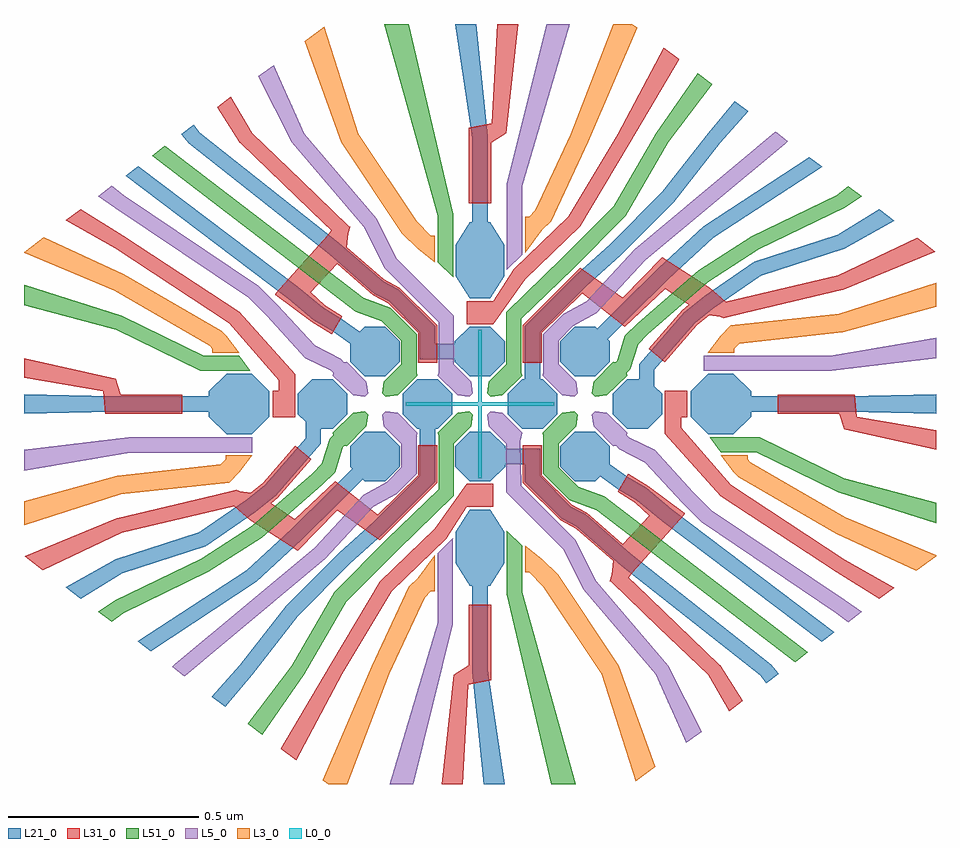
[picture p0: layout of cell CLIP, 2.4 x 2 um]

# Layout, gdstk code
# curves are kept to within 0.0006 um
import gdstk
lib = gdstk.Library(unit=1e-6, precision=1e-09)
def P(c, l, *ps):  # polygons
    for p in ps: c.add(gdstk.Polygon(p, *l))
L0_0 = (0, 0)
L3_0 = (3, 0)
L5_0 = (5, 0)
L21_0 = (21, 0)
L31_0 = (31, 0)
L51_0 = (51, 0)

top_1 = lib.new_cell('TOP$1')

clip = lib.new_cell('CLIP')
P(clip, L0_0, [(-0.005,-0.195),(-0.005,-0.005),(-0.195,-0.005),(-0.195,0.005),(-0.005,0.005),(-0.005,0.195),(0.005,0.195),(0.005,0.005),(0.195,0.005),(0.195,-0.005),(0.005,-0.005),(0.005,-0.195)],
  [(-0.005,-0.049),(-0.005,-0.005),(-0.049,-0.005),(-0.049,0.005),(-0.005,0.005),(-0.005,0.049),(0.005,0.049),(0.005,0.005),(0.049,0.005),(0.049,-0.005),(0.005,-0.005),(0.005,-0.049)])
P(clip, L3_0, [(-0.4,-1),(-0.414,-0.99),(-0.285,-0.69),(-0.187,-0.481),(-0.164,-0.458),(-0.119,-0.398),(-0.119,-0.493),(-0.129,-0.493),(-0.146,-0.51),(-0.239,-0.71),(-0.35,-1)],
  [(0.41,-0.993),(0.32,-0.711),(0.167,-0.481),(0.129,-0.443),(0.119,-0.443),(0.119,-0.373),(0.164,-0.408),(0.206,-0.449),(0.365,-0.689),(0.461,-0.954)],
  [(-1.2,-0.319),(-1.2,-0.256),(-0.955,-0.189),(-0.682,-0.159),(-0.669,-0.145),(-0.669,-0.135),(-0.599,-0.135),(-0.633,-0.18),(-0.66,-0.207),(-0.945,-0.238)],
  [(1.148,-0.439),(0.938,-0.342),(0.681,-0.193),(0.668,-0.18),(0.634,-0.135),(0.704,-0.135),(0.704,-0.145),(0.711,-0.153),(0.961,-0.298),(1.2,-0.398),(1.2,-0.4)],
  [(0.599,0.135),(0.633,0.18),(0.66,0.207),(0.945,0.238),(1.2,0.319),(1.2,0.256),(0.955,0.189),(0.682,0.159),(0.669,0.145),(0.669,0.135)],
  [(-0.704,0.135),(-0.704,0.145),(-0.711,0.153),(-0.961,0.298),(-1.2,0.398),(-1.2,0.4),(-1.148,0.439),(-0.938,0.342),(-0.681,0.193),(-0.668,0.18),(-0.634,0.135)],
  [(-0.119,0.373),(-0.164,0.408),(-0.206,0.449),(-0.365,0.689),(-0.461,0.954),(-0.41,0.993),(-0.32,0.711),(-0.167,0.481),(-0.129,0.443),(-0.119,0.443)],
  [(0.119,0.398),(0.119,0.493),(0.129,0.493),(0.146,0.51),(0.239,0.71),(0.35,1),(0.4,1),(0.414,0.99),(0.285,0.69),(0.187,0.481),(0.164,0.458)])
P(clip, L5_0, [(-0.237,-1),(-0.111,-0.575),(-0.111,-0.393),(-0.072,-0.353),(-0.072,-0.58),(-0.176,-1)],
  [(-1.2,-0.175),(-1.2,-0.12),(-0.925,-0.088),(-0.599,-0.088),(-0.599,-0.128),(-0.922,-0.128)],
  [(-0.778,-0.717),(-0.81,-0.692),(-0.803,-0.685),(-0.435,-0.378),(-0.306,-0.239),(-0.244,-0.204),(-0.207,-0.167),(-0.207,-0.104),(-0.253,-0.058),(-0.257,-0.028),(-0.248,-0.019),(-0.217,-0.023),(-0.165,-0.075),(-0.167,-0.085),(-0.167,-0.184),(-0.22,-0.237),(-0.281,-0.271),(-0.407,-0.407)],
  [(0.543,-0.892),(0.462,-0.711),(0.272,-0.488),(0.219,-0.382),(0.069,-0.232),(0.069,-0.105),(0.023,-0.058),(0.019,-0.028),(0.028,-0.019),(0.058,-0.023),(0.111,-0.075),(0.106,-0.098),(0.109,-0.215),(0.252,-0.359),(0.306,-0.466),(0.496,-0.689),(0.583,-0.862)],
  [(0.969,-0.574),(0.938,-0.55),(0.584,-0.311),(0.532,-0.26),(0.435,-0.154),(0.367,-0.119),(0.358,-0.11),(0.351,-0.111),(0.299,-0.058),(0.294,-0.028),(0.303,-0.019),(0.334,-0.023),(0.387,-0.075),(0.386,-0.082),(0.391,-0.087),(0.46,-0.121),(0.561,-0.232),(0.609,-0.28),(0.961,-0.517),(1.004,-0.547)],
  [(0.589,0.088),(0.589,0.127),(0.922,0.127),(1.2,0.174),(1.2,0.12),(0.925,0.088)],
  [(-0.303,0.019),(-0.334,0.023),(-0.387,0.075),(-0.386,0.082),(-0.391,0.087),(-0.46,0.121),(-0.561,0.232),(-0.609,0.28),(-0.961,0.517),(-1.004,0.547),(-0.969,0.574),(-0.938,0.55),(-0.584,0.311),(-0.532,0.26),(-0.435,0.154),(-0.367,0.119),(-0.358,0.11),(-0.351,0.111),(-0.299,0.058),(-0.294,0.028)],
  [(0.248,0.019),(0.217,0.023),(0.165,0.075),(0.167,0.085),(0.167,0.184),(0.22,0.237),(0.281,0.271),(0.407,0.407),(0.778,0.717),(0.81,0.692),(0.803,0.685),(0.435,0.378),(0.306,0.239),(0.244,0.204),(0.207,0.167),(0.207,0.104),(0.253,0.058),(0.257,0.028)],
  [(-0.028,0.019),(-0.058,0.023),(-0.111,0.075),(-0.109,0.082),(-0.109,0.215),(-0.252,0.359),(-0.306,0.466),(-0.496,0.689),(-0.583,0.862),(-0.543,0.892),(-0.462,0.711),(-0.272,0.488),(-0.219,0.382),(-0.069,0.232),(-0.069,0.105),(-0.023,0.058),(-0.019,0.028)],
  [(0.071,0.353),(0.071,0.58),(0.175,1),(0.236,1),(0.111,0.575),(0.111,0.393)])
P(clip, L21_0, [(0.01,-1),(-0.02,-0.704),(-0.02,-0.478),(-0.027,-0.478),(-0.064,-0.419),(-0.064,-0.336),(-0.027,-0.278),(0.027,-0.278),(0.064,-0.336),(0.064,-0.419),(0.027,-0.478),(0.02,-0.478),(0.02,-0.701),(0.065,-1)],
  [(-0.867,-0.65),(-0.901,-0.624),(-0.614,-0.437),(-0.497,-0.33),(-0.336,-0.17),(-0.341,-0.165),(-0.341,-0.111),(-0.303,-0.073),(-0.249,-0.073),(-0.211,-0.111),(-0.211,-0.165),(-0.249,-0.203),(-0.303,-0.203),(-0.308,-0.198),(-0.47,-0.359),(-0.589,-0.468)],
  [(0.753,-0.735),(0.738,-0.714),(0.372,-0.425),(0.255,-0.323),(0.215,-0.302),(0.118,-0.205),(0.118,-0.158),(0.066,-0.158),(0.066,-0.165),(0.027,-0.203),(-0.027,-0.203),(-0.065,-0.165),(-0.065,-0.111),(-0.027,-0.073),(0.027,-0.073),(0.066,-0.111),(0.066,-0.118),(0.158,-0.118),(0.158,-0.189),(0.239,-0.27),(0.278,-0.29),(0.397,-0.394),(0.767,-0.686),(0.786,-0.71)],
  [(0.899,-0.626),(0.48,-0.308),(0.414,-0.254),(0.365,-0.225),(0.316,-0.19),(0.303,-0.203),(0.249,-0.203),(0.211,-0.165),(0.211,-0.111),(0.249,-0.073),(0.303,-0.073),(0.341,-0.111),(0.341,-0.159),(0.387,-0.191),(0.437,-0.221),(0.505,-0.277),(0.932,-0.601)],
  [(-1.051,-0.512),(-1.09,-0.482),(-0.958,-0.408),(-0.739,-0.338),(-0.613,-0.251),(-0.565,-0.212),(-0.459,-0.09),(-0.459,-0.047),(-0.479,-0.027),(-0.479,0.027),(-0.441,0.065),(-0.387,0.065),(-0.349,0.027),(-0.349,-0.027),(-0.387,-0.065),(-0.419,-0.065),(-0.419,-0.105),(-0.538,-0.241),(-0.59,-0.283),(-0.722,-0.374),(-0.942,-0.445)],
  [(-0.671,-0.797),(-0.706,-0.77),(-0.632,-0.687),(-0.51,-0.531),(-0.371,-0.392),(-0.281,-0.311),(-0.158,-0.189),(-0.158,-0.065),(-0.165,-0.065),(-0.203,-0.027),(-0.203,0.027),(-0.165,0.065),(-0.111,0.065),(-0.073,0.027),(-0.073,-0.027),(-0.111,-0.065),(-0.118,-0.065),(-0.118,-0.205),(-0.253,-0.34),(-0.343,-0.421),(-0.48,-0.558),(-0.6,-0.712)],
  [(-0.667,-0.08),(-0.714,-0.033),(-0.714,-0.02),(-0.964,-0.02),(-1.2,-0.026),(-1.2,0.026),(-0.964,0.02),(-0.714,0.02),(-0.714,0.033),(-0.667,0.08),(-0.601,0.08),(-0.554,0.033),(-0.554,-0.033),(-0.601,-0.08)],
  [(0.601,-0.08),(0.554,-0.033),(0.554,0.033),(0.601,0.08),(0.667,0.08),(0.714,0.033),(0.714,0.02),(0.964,0.02),(1.2,0.026),(1.2,-0.026),(0.964,-0.02),(0.714,-0.02),(0.714,-0.033),(0.667,-0.08)],
  [(0.387,-0.065),(0.349,-0.027),(0.349,0.027),(0.387,0.065),(0.419,0.065),(0.419,0.105),(0.538,0.241),(0.59,0.283),(0.722,0.374),(0.942,0.445),(1.051,0.512),(1.09,0.482),(0.958,0.408),(0.739,0.338),(0.613,0.251),(0.565,0.212),(0.459,0.09),(0.459,0.047),(0.479,0.027),(0.479,-0.027),(0.441,-0.065)],
  [(-0.303,0.073),(-0.341,0.111),(-0.341,0.159),(-0.387,0.191),(-0.437,0.221),(-0.505,0.277),(-0.932,0.601),(-0.899,0.626),(-0.48,0.308),(-0.414,0.254),(-0.365,0.225),(-0.316,0.19),(-0.303,0.203),(-0.249,0.203),(-0.211,0.165),(-0.211,0.111),(-0.249,0.073)],
  [(0.249,0.073),(0.211,0.111),(0.211,0.165),(0.249,0.203),(0.303,0.203),(0.308,0.198),(0.47,0.359),(0.589,0.468),(0.867,0.65),(0.901,0.624),(0.614,0.437),(0.497,0.33),(0.336,0.17),(0.341,0.165),(0.341,0.111),(0.303,0.073)],
  [(-0.027,0.073),(-0.066,0.111),(-0.066,0.118),(-0.158,0.118),(-0.158,0.189),(-0.239,0.27),(-0.278,0.29),(-0.397,0.394),(-0.767,0.686),(-0.786,0.71),(-0.753,0.735),(-0.738,0.714),(-0.372,0.425),(-0.255,0.323),(-0.215,0.302),(-0.118,0.205),(-0.118,0.158),(-0.066,0.158),(-0.066,0.165),(-0.027,0.203),(0.027,0.203),(0.065,0.165),(0.065,0.111),(0.027,0.073)],
  [(0.111,-0.065),(0.073,-0.027),(0.073,0.027),(0.111,0.065),(0.118,0.065),(0.118,0.205),(0.253,0.34),(0.343,0.421),(0.48,0.558),(0.6,0.712),(0.671,0.797),(0.706,0.77),(0.632,0.687),(0.51,0.531),(0.371,0.392),(0.281,0.311),(0.158,0.189),(0.158,0.065),(0.165,0.065),(0.203,0.027),(0.203,-0.027),(0.165,-0.065)],
  [(-0.027,0.278),(-0.064,0.336),(-0.064,0.419),(-0.027,0.478),(-0.02,0.478),(-0.02,0.701),(-0.065,1),(-0.01,1),(0.02,0.704),(0.02,0.478),(0.027,0.478),(0.064,0.419),(0.064,0.336),(0.027,0.278)])
P(clip, L31_0, [(-0.101,-1),(-0.069,-0.712),(-0.03,-0.687),(-0.03,-0.528),(0.03,-0.528),(0.03,-0.727),(-0.031,-0.739),(-0.046,-1)],
  [(-0.483,-0.938),(-0.524,-0.907),(-0.396,-0.689),(-0.264,-0.468),(-0.119,-0.328),(-0.035,-0.21),(0.035,-0.21),(0.035,-0.27),(-0.035,-0.27),(-0.089,-0.354),(-0.232,-0.493),(-0.362,-0.71)],
  [(-1.151,-0.437),(-1.198,-0.401),(-0.956,-0.301),(-0.641,-0.226),(-0.632,-0.229),(-0.603,-0.233),(-0.571,-0.207),(-0.486,-0.11),(-0.444,-0.146),(-0.532,-0.247),(-0.549,-0.261),(-0.487,-0.303),(-0.381,-0.203),(-0.269,-0.292),(-0.163,-0.187),(-0.163,-0.108),(-0.113,-0.108),(-0.113,-0.207),(-0.264,-0.358),(-0.376,-0.279),(-0.479,-0.386),(-0.604,-0.306),(-0.647,-0.269),(-0.943,-0.339)],
  [(0.656,-0.808),(0.6,-0.713),(0.345,-0.468),(0.342,-0.466),(0.347,-0.449),(0.351,-0.413),(0.253,-0.328),(0.212,-0.306),(0.113,-0.207),(0.113,-0.108),(0.163,-0.108),(0.163,-0.187),(0.242,-0.265),(0.281,-0.286),(0.376,-0.369),(0.446,-0.294),(0.409,-0.26),(0.362,-0.231),(0.39,-0.184),(0.441,-0.215),(0.539,-0.287),(0.538,-0.291),(0.401,-0.444),(0.391,-0.457),(0.63,-0.686),(0.632,-0.687),(0.692,-0.781)],
  [(1.2,-0.121),(0.958,-0.067),(0.945,-0.025),(0.784,-0.025),(0.784,0.025),(0.986,0.025),(0.992,-0.033),(1.2,-0.069)],
  [(1.051,-0.512),(0.939,-0.443),(0.633,-0.243),(0.486,-0.078),(0.486,0.035),(0.546,0.035),(0.546,-0.035),(0.529,-0.035),(0.529,-0.062),(0.66,-0.213),(0.96,-0.41),(1.09,-0.483)],
  [(-0.986,-0.025),(-0.992,0.033),(-1.2,0.069),(-1.2,0.121),(-0.958,0.067),(-0.945,0.025),(-0.784,0.025),(-0.784,-0.025)],
  [(0.113,0.108),(0.113,0.207),(0.264,0.358),(0.376,0.279),(0.479,0.386),(0.604,0.306),(0.647,0.269),(0.943,0.339),(1.151,0.437),(1.198,0.401),(0.956,0.301),(0.641,0.226),(0.632,0.229),(0.603,0.233),(0.571,0.207),(0.486,0.11),(0.444,0.146),(0.532,0.247),(0.549,0.261),(0.487,0.303),(0.381,0.203),(0.269,0.292),(0.163,0.187),(0.163,0.108)],
  [(-0.546,-0.035),(-0.546,0.035),(-0.529,0.035),(-0.529,0.062),(-0.66,0.213),(-0.96,0.41),(-1.09,0.483),(-1.051,0.512),(-0.939,0.443),(-0.633,0.243),(-0.486,0.078),(-0.486,-0.035)],
  [(-0.163,0.108),(-0.163,0.187),(-0.242,0.265),(-0.281,0.286),(-0.376,0.369),(-0.446,0.294),(-0.409,0.26),(-0.362,0.231),(-0.39,0.184),(-0.441,0.215),(-0.539,0.287),(-0.538,0.291),(-0.401,0.444),(-0.391,0.457),(-0.63,0.686),(-0.632,0.687),(-0.692,0.781),(-0.656,0.808),(-0.6,0.713),(-0.345,0.468),(-0.342,0.466),(-0.347,0.449),(-0.351,0.413),(-0.253,0.328),(-0.212,0.306),(-0.113,0.207),(-0.113,0.108)],
  [(-0.035,0.21),(-0.035,0.27),(0.035,0.27),(0.089,0.354),(0.232,0.493),(0.362,0.71),(0.483,0.938),(0.524,0.907),(0.396,0.689),(0.264,0.468),(0.119,0.328),(0.035,0.21)],
  [(-0.03,0.528),(-0.03,0.727),(0.031,0.739),(0.046,1),(0.101,1),(0.069,0.712),(0.03,0.687),(0.03,0.528)])
P(clip, L51_0, [(0.188,-1),(0.071,-0.5),(0.071,-0.333),(0.111,-0.373),(0.111,-0.495),(0.252,-1)],
  [(1.2,-0.314),(0.943,-0.232),(0.727,-0.127),(0.634,-0.127),(0.604,-0.088),(0.736,-0.088),(0.957,-0.195),(1.2,-0.26)],
  [(-0.969,-0.573),(-1.004,-0.547),(-0.96,-0.516),(-0.734,-0.407),(-0.599,-0.32),(-0.442,-0.183),(-0.416,-0.157),(-0.396,-0.092),(-0.386,-0.082),(-0.387,-0.075),(-0.334,-0.023),(-0.303,-0.019),(-0.294,-0.028),(-0.299,-0.058),(-0.351,-0.111),(-0.357,-0.11),(-0.361,-0.114),(-0.381,-0.179),(-0.415,-0.213),(-0.575,-0.352),(-0.715,-0.442),(-0.939,-0.55)],
  [(-0.573,-0.87),(-0.611,-0.841),(-0.496,-0.689),(-0.384,-0.496),(-0.245,-0.356),(-0.109,-0.224),(-0.109,-0.084),(-0.111,-0.075),(-0.058,-0.023),(-0.028,-0.019),(-0.019,-0.028),(-0.023,-0.058),(-0.069,-0.105),(-0.069,-0.241),(-0.217,-0.385),(-0.352,-0.521),(-0.462,-0.711)],
  [(0.829,-0.679),(0.307,-0.279),(0.236,-0.253),(0.167,-0.184),(0.167,-0.085),(0.165,-0.075),(0.217,-0.023),(0.248,-0.019),(0.257,-0.028),(0.253,-0.058),(0.207,-0.104),(0.207,-0.167),(0.258,-0.218),(0.327,-0.243),(0.862,-0.653)],
  [(-0.736,0.087),(-0.957,0.195),(-1.2,0.26),(-1.2,0.314),(-0.943,0.232),(-0.727,0.127),(-0.634,0.127),(-0.604,0.087)],
  [(0.303,0.019),(0.294,0.028),(0.299,0.058),(0.351,0.111),(0.357,0.11),(0.361,0.114),(0.381,0.179),(0.415,0.213),(0.575,0.352),(0.715,0.442),(0.939,0.55),(0.969,0.573),(1.004,0.547),(0.96,0.516),(0.734,0.407),(0.599,0.32),(0.442,0.183),(0.416,0.157),(0.396,0.092),(0.386,0.082),(0.387,0.075),(0.334,0.023)],
  [(-0.248,0.019),(-0.257,0.028),(-0.253,0.058),(-0.207,0.104),(-0.207,0.167),(-0.258,0.218),(-0.327,0.243),(-0.862,0.653),(-0.829,0.679),(-0.307,0.279),(-0.236,0.253),(-0.167,0.184),(-0.167,0.085),(-0.165,0.075),(-0.217,0.023)],
  [(0.028,0.019),(0.019,0.028),(0.023,0.058),(0.069,0.105),(0.069,0.241),(0.217,0.385),(0.352,0.521),(0.462,0.711),(0.573,0.87),(0.611,0.841),(0.496,0.689),(0.384,0.496),(0.245,0.356),(0.109,0.224),(0.109,0.082),(0.111,0.075),(0.058,0.023)],
  [(-0.071,0.333),(-0.111,0.373),(-0.111,0.495),(-0.252,1),(-0.188,1),(-0.071,0.5)])
clip.add(gdstk.Reference(top_1, (0,0)))

lib.write_gds('CLIP.gds')
